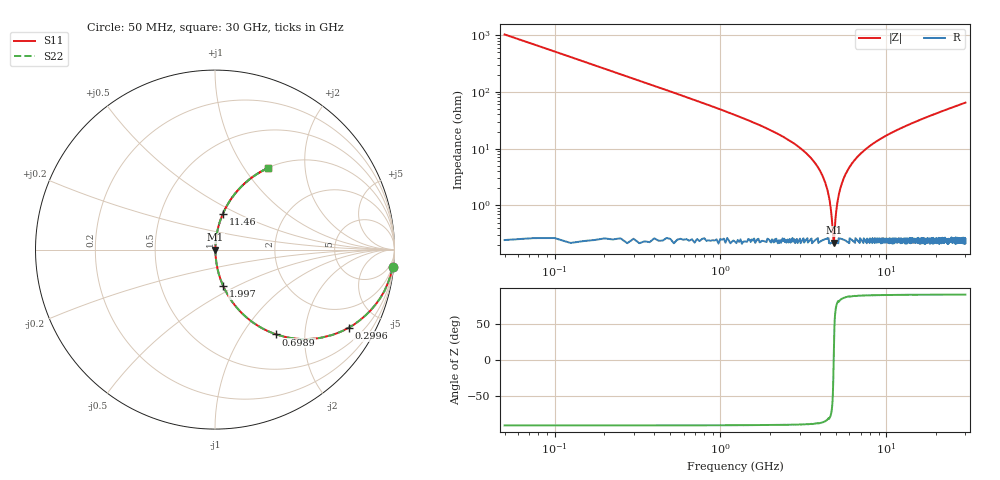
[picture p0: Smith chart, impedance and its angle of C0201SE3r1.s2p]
!	AVX Thin Film Operation 	Date: April 2014
!	Description: Accu-P® Series, Thin Film  SMD RF Capacitor
!	Part Number: 02013J3R1ABSTR
# MHZ S MA R 50
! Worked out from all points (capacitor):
!   1201 points, 50 MHz to 30 GHz, reference 50 ohm
!   read as one part in series: C = 3.1 pF near 199.8 MHz
!   lowest |Z| = 221 mohm at 4.817 GHz (marker M1)
!   series resonance near 4.818 GHz, so ESL is about 350 pH
!   S11 on the Smith chart (normalised r, x): 50 MHz: 1, -21; 299.6 MHz: 1.01, -3.41; 698.9 MHz: 1.00, -1.44; 1.997 GHz: 1.00, -0.43; 11.46 GHz: 1.00, +0.42; 30 GHz: 1.00, +1.29
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50  0.995 -5.6  0.097 84.4  0.097 84.4  0.995 -5.6
299.583  0.862 -30.3  0.505 59.6  0.505 59.6  0.862 -30.3
698.917  0.583 -54.2  0.811 35.7  0.811 35.7  0.583 -54.2
1198.083  0.372 -67.8  0.926 21.9  0.926 21.9  0.372 -67.8
1996.75  0.208 -77.4  0.976 12.0  0.976 12.0  0.208 -77.4
3294.583  0.083 -83.6  0.994 4.7  0.994 4.7  0.083 -83.6
4018.375  0.039 -84.2  0.997 2.2  0.997 2.2  0.039 -84.2
4417.708  0.019 -81.5  0.997 1.1  0.997 1.1  0.019 -81.5
4717.208  0.005098 -61.6  0.998 0.3  0.998 0.3  0.005098 -61.6
4817.042  0.002405 -1.0  0.998 0.0  0.998 0.0  0.002405 -1.0
4916.875  0.004943 60.6  0.998 -0.2  0.998 -0.2  0.004943 60.6
5041.667  0.009945 75.5  0.998 -0.6  0.998 -0.6  0.009945 75.5
5216.375  0.017 80.9  0.997 -1.0  0.997 -1.0  0.017 80.9
5490.917  0.028 83.5  0.997 -1.6  0.997 -1.6  0.028 83.5
6339.5  0.059 84.3  0.996 -3.4  0.996 -3.4  0.059 84.3
7812.042  0.106 82.6  0.992 -6.1  0.992 -6.1  0.106 82.6
10058.29  0.169 79.5  0.983 -9.7  0.983 -9.7  0.169 79.5
11455.96  0.204 77.6  0.977 -11.8  0.977 -11.8  0.204 77.6
15025  0.285 73.0  0.956 -16.6  0.956 -16.6  0.285 73.0
20016.67  0.384 67.1  0.921 -22.6  0.921 -22.6  0.384 67.1
25033.29  0.47 61.7  0.881 -28.0  0.881 -28.0  0.47 61.7
30000  0.542 57.0  0.838 -32.8  0.838 -32.8  0.542 57.0
